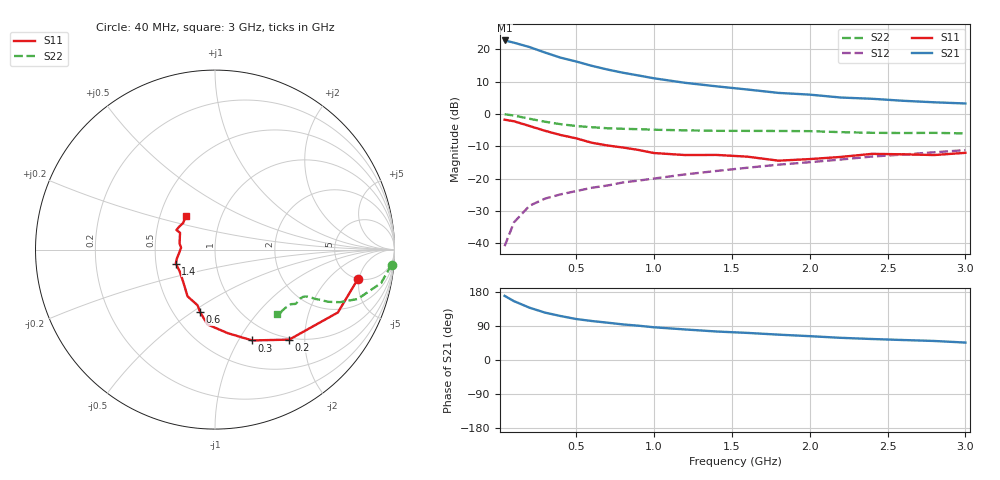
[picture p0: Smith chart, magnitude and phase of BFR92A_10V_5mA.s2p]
! Filename:  BFR92AG.S2P  Version:  2.0
! Philips part #: BFR92A  Date: May 1990
! Bias condition: Vce=10V, Ic=5mA
#  MHz  S  MA  R  50
! Freq  S11  S21  S12  S22  !GUM [dB]
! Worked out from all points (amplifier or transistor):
!   21 points, 40 MHz to 3 GHz, reference 50 ohm
!   highest |S21| = 22.7 dB at 40 MHz (marker M1)
!   |S21| within 3 dB of that: start of sweep to 256.1 MHz
!   unconditionally stable (mu >= 1): 1.22 GHz to 2.388 GHz; 2.44 GHz to 2.778 GHz
!   at 300 MHz: K = 0.50, MSG = 22.6 dB, |S12| = -26.2 dB
!   at 1 GHz: K = 0.97, MSG = 15.5 dB, |S12| = -20.0 dB
!   at 3 GHz: K = 0.98, MSG = 7.2 dB, |S12| = -11.2 dB
!   S11 on the Smith chart (normalised r, x): 40 MHz: 4.97, -4.80; 200 MHz: 0.97, -1.68; 300 MHz: 0.79, -1.14; 600 MHz: 0.67, -0.54; 1.4 GHz: 0.63, -0.10; 3 GHz: 0.68, +0.27
40  0.813 -11.6  13.67 169.3  0.009 82.2  0.987 -4.9
100  0.769 -27.1  12.63 155.3  0.021 74.3  0.944 -11.4
200  0.65 -50.5  10.81 138.0  0.038 68.1  0.841 -19.1
300  0.547 -67.7  8.877 125.0  0.049 63.7  0.756 -22.8
400  0.471 -81.3  7.404 116.0  0.057 62.0  0.693 -24.8
500  0.419 -95.8  6.458 108.1  0.064 61.1  0.65 -25.5
600  0.358 -103.4  5.54 102.9  0.072 62.4  0.622 -26.2
700  0.325 -107.4  4.858 98.5  0.078 64.2  0.6 -26.5
800  0.302 -120.5  4.332 93.9  0.087 64.5  0.588 -26.7
900  0.277 -126.3  3.927 90.5  0.093 65.4  0.58 -26.9
1000  0.248 -136.6  3.55 86.3  0.1 67.0  0.569 -27.3
1200  0.231 -148.8  3.023 80.6  0.116 68.8  0.557 -28.2
1400  0.232 -160.5  2.67 75.2  0.131 69.6  0.547 -29.9
1600  0.218 -166.8  2.382 71.5  0.147 71.3  0.546 -31.1
1800  0.189 176.8  2.111 66.9  0.164 72.1  0.544 -32.6
2000  0.2 170.6  1.986 62.9  0.179 72.4  0.541 -34.0
2200  0.216 154.4  1.791 58.5  0.197 72.9  0.522 -35.6
2400  0.241 153.0  1.713 55.4  0.219 72.4  0.51 -39.1
2600  0.237 147.5  1.595 52.7  0.235 72.4  0.506 -42.4
2800  0.231 139.9  1.511 50.2  0.255 72.4  0.509 -44.9
3000  0.25 130.6  1.449 46.0  0.275 71.7  0.499 -46.0
